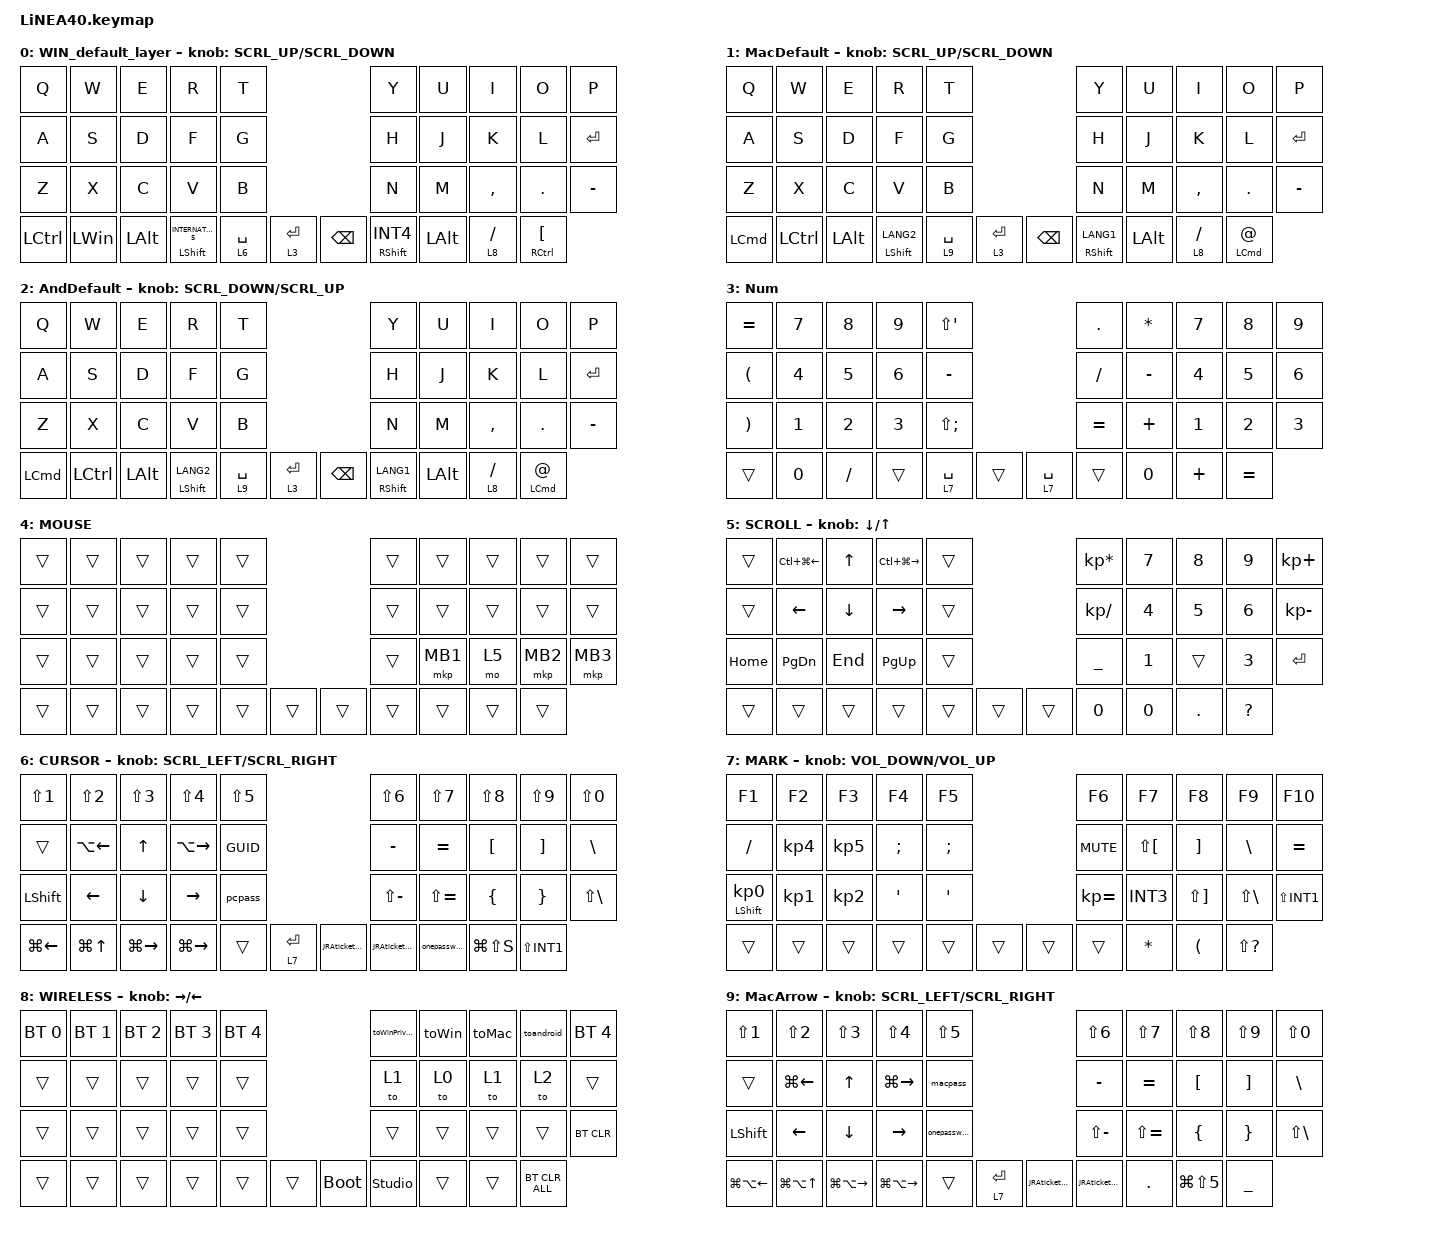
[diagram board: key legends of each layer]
#define ZMK_POINTING_DEFAULT_SCRL_VAL 150

#include <dt-bindings/zmk/input_transform.h>
#include <input/processors.dtsi>
#include <zephyr/dt-bindings/input/input-event-codes.h>
#include <behaviors.dtsi>
#include <dt-bindings/zmk/bt.h>
#include <dt-bindings/zmk/keys.h>
#include <dt-bindings/zmk/pointing.h>

#define MOUSE 4
#define MARK 7
#define CURSOR 6
#define FUNCTION 7
#define SCROLL 5
#define WIRELESS 8

//mouse cursol

&mmv {
    delay-ms = <20>;
    trigger-period-ms = <5>;
    time-to-max-speed-ms = <100>;
    acceleration-exponent = <2>;
};

//mouse scroll

&msc {
    delay-ms = <3>;
    trigger-period-ms = <3>;
    time-to-max-speed-ms = <100>;
    acceleration-exponent = <0>;
};

/ {
    input_processors {
        zip_wheel_scaler: zip_wheel_scaler {
            compatible = "zmk,input-processor-scaler";
            #input-processor-cells = <2>;
            type = <INPUT_EV_REL>;
            codes = <INPUT_REL_WHEEL>;
            track-remainders;
        };
    };
};

&mkp_input_listener { input-processors = <&zip_temp_layer 4 10000>; };

&msc_input_listener {
    speed_up {
        layers = <FUNCTION>;
        input-processors = <&zip_wheel_scaler 3 1>; //スクロールを3倍速にする
    };
};

&trackball_listener {
    scroller {
        layers = <SCROLL>;
        input-processors =
            <&zip_xy_transform INPUT_TRANSFORM_Y_INVERT>,
            //スクロール方向を逆転,,,,,,,,,,,,,
            <&zip_xy_to_scroll_mapper>;
    };
};

/ {
    combos {
        compatible = "zmk,combos";

        ZenkakuHankaku {
            bindings = <&kp BACKSPACE>;
            key-positions = <8 9>;
        };

        DeleteKey {
            bindings = <&kp DEL>;
            key-positions = <7 8 9>;
        };

        TABs {
            bindings = <&kp TAB>;
            key-positions = <0 1>;
        };

        shifttab {
            bindings = <&kp LS(TAB)>;
            key-positions = <0 1 2>;
        };

        esc {
            bindings = <&kp ESCAPE>;
            key-positions = <10 0>;
        };

        shift {
            bindings = <&kp LEFT_SHIFT>;
            key-positions = <21 20>;
        };

        doublquatation {
            bindings = <&kp SQT>;
            key-positions = <18 19>;
        };

        kakuninyou {
            bindings = <&none>;
            key-positions = <26 27 28 29 30>;
        };
    };

    macros {
        GUID: GUID {
            compatible = "zmk,behavior-macro";
            #binding-cells = <0>;
            bindings = <&kp S &kp H &kp U &kp N &kp DOT &kp S &kp DOT &kp O &kp K &kp U &kp N &kp O &kp LEFT_BRACKET &kp P &kp W &kp C &kp DOT &kp C &kp O &kp M>;
            label = "GUID";
        };

        pcpass: pwcpass {
            compatible = "zmk,behavior-macro";
            #binding-cells = <0>;
            bindings = <&kp LS(I) &kp L &kp I &kp V &kp E &kp I &kp N &kp LS(J) &kp U &kp N &kp E &kp N2 &kp N4 &kp N1 &kp N9 &kp N8 &kp N7 &kp EXCL>;
            label = "PWCPASS";
        };

        macpass: macpass {
            compatible = "zmk,behavior-macro";
            #binding-cells = <0>;
            bindings = <&kp A &kp L &kp T &kp E &kp R &kp N &kp A &kp T &kp I &kp V &kp E>;
            label = "MACPASS";
        };

        onepassword: onepassword {
            compatible = "zmk,behavior-macro";
            #binding-cells = <0>;
            bindings = <&kp LS(I) &kp L &kp I &kp V &kp E &kp I &kp N &kp LS(J) &kp A &kp P &kp A &kp N &kp N7 &kp EXCL>;
            label = "ONEPASSWORD";
        };

        toMac: toMacStudio {
            compatible = "zmk,behavior-macro";
            #binding-cells = <0>;
            bindings = <&bt BT_SEL 2>, <&macro_wait_time 200>, <&to 1>;

            label = "TOMACSTUDIO";
        };

        toWin: toiPad13 {
            compatible = "zmk,behavior-macro";
            #binding-cells = <0>;
            bindings = <&bt BT_SEL 1>, <&macro_wait_time 200>, <&to 0>;

            label = "TOIPAD13";
        };

        toiPad13: toiPad11 {
            compatible = "zmk,behavior-macro";
            #binding-cells = <0>;
            bindings = <&bt BT_SEL 2>, <&macro_wait_time 200>, <&to 1>;

            label = "TOIPAD11";
        };

        toiPadmini: toiPhone {
            compatible = "zmk,behavior-macro";
            #binding-cells = <0>;
            bindings = <&bt BT_SEL 3>, <&macro_wait_time 200>, <&to 1>;

            label = "TOIPHONE";
        };

        JRAticketSmartsheet2: JTAticketSmartsheet {
            compatible = "zmk,behavior-macro";
            #binding-cells = <0>;
            bindings = <&kp TAB &kp LEFT_SHIFT &kp ENTER &kp TAB &kp TAB &kp ENTER>;
            label = "JTATICKETSMARTSHEET";
        };

        JRAticketSmartsheet1: JRAticketSmartsheet1 {
            compatible = "zmk,behavior-macro";
            #binding-cells = <0>;
            bindings = <&kp TAB &kp LEFT_SHIFT &kp ENTER &kp TAB &kp ENTER>;
            label = "JRATICKETSMARTSHEET1";
        };

        toandroid: toandroid {
            compatible = "zmk,behavior-macro";
            #binding-cells = <0>;
            bindings = <&bt BT_SEL 3>, <&macro_wait_time 200>, <&to 2>;

            label = "TOANDROID";
        };

        toWinPrivate: toWinPrivate {
            compatible = "zmk,behavior-macro";
            #binding-cells = <0>;
            bindings = <&bt BT_SEL 0>, <&macro_wait_time 200>, <&to 0>;

            label = "TOWINPRIVATE";
        };
    };

    behaviors {
        re_kp: sensor_rotate_kp {
            compatible = "zmk,behavior-sensor-rotate-var";
            #sensor-binding-cells = <2>;
            bindings = <&kp>, <&kp>;
        };

        mouse_scrl: mouse_wheel_scrl {
            compatible = "zmk,behavior-sensor-rotate-var";
            #sensor-binding-cells = <2>;
            bindings = <&msc>, <&msc>;

            tap-ms = <20>;
        };
    };

    keymap {
        compatible = "zmk,keymap";

        WIN_default_layer {
            bindings = <
&kp Q             &kp W         &kp E         &kp R                           &kp T                                      &kp Y                 &kp U  &kp I         &kp O        &kp P
&kp A             &kp S         &kp D         &kp F                           &kp G                                      &kp H                 &kp J  &kp K         &kp L        &kp ENTER
&kp Z             &kp X         &kp C         &kp V                           &kp B                                      &kp N                 &kp M  &kp COMMA     &kp DOT      &kp MINUS
&kp LEFT_CONTROL  &kp LEFT_WIN  &kp LEFT_ALT  &mt LEFT_SHIFT INTERNATIONAL_5  &lt 6 SPACE  &lt 3 ENTER    &kp BACKSPACE  &mt RIGHT_SHIFT INT4         &kp LEFT_ALT  &lt 8 SLASH  &mt RIGHT_CONTROL LEFT_BRACKET
            >;

            sensor-bindings = <&mouse_scrl SCRL_UP SCRL_DOWN>;
        };

        MacDefault {
            bindings = <
&kp Q             &kp W             &kp E         &kp R                 &kp T                                      &kp Y                  &kp U  &kp I         &kp O        &kp P
&kp A             &kp S             &kp D         &kp F                 &kp G                                      &kp H                  &kp J  &kp K         &kp L        &kp ENTER
&kp Z             &kp X             &kp C         &kp V                 &kp B                                      &kp N                  &kp M  &kp COMMA     &kp DOT      &kp MINUS
&kp LEFT_COMMAND  &kp LEFT_CONTROL  &kp LEFT_ALT  &mt LEFT_SHIFT LANG2  &lt 9 SPACE  &lt 3 ENTER    &kp BACKSPACE  &mt RIGHT_SHIFT LANG1         &kp LEFT_ALT  &lt 8 SLASH  &mt LEFT_COMMAND AT_SIGN
            >;

            sensor-bindings = <&mouse_scrl SCRL_UP SCRL_DOWN>;
        };

        AndDefault {
            bindings = <
&kp Q             &kp W             &kp E         &kp R                 &kp T                                      &kp Y                  &kp U  &kp I         &kp O        &kp P
&kp A             &kp S             &kp D         &kp F                 &kp G                                      &kp H                  &kp J  &kp K         &kp L        &kp ENTER
&kp Z             &kp X             &kp C         &kp V                 &kp B                                      &kp N                  &kp M  &kp COMMA     &kp DOT      &kp MINUS
&kp LEFT_COMMAND  &kp LEFT_CONTROL  &kp LEFT_ALT  &mt LEFT_SHIFT LANG2  &lt 9 SPACE  &lt 3 ENTER    &kp BACKSPACE  &mt RIGHT_SHIFT LANG1         &kp LEFT_ALT  &lt 8 SLASH  &mt LEFT_COMMAND AT_SIGN
            >;

            sensor-bindings = <&mouse_scrl SCRL_DOWN SCRL_UP>;
        };

        Num {
            bindings = <
&kp EQUAL              &kp NUMBER_7  &kp NUMBER_8  &kp NUMBER_9  &kp LS(APOS)                         &kp DOT    &kp ASTRK  &kp N7  &kp N8    &kp N9
&kp LEFT_PARENTHESIS   &kp NUMBER_4  &kp NUMBER_5  &kp NUMBER_6  &kp MINUS                            &kp FSLH   &kp MINUS  &kp N4  &kp N5    &kp N6
&kp RIGHT_PARENTHESIS  &kp NUMBER_1  &kp NUMBER_2  &kp NUMBER_3  &kp LS(SEMI)                         &kp EQUAL  &kp PLUS   &kp N1  &kp N2    &kp N3
&trans                 &kp N0        &kp FSLH      &trans        &lt 7 SPACE   &trans    &lt 7 SPACE  &trans                &kp N0  &kp PLUS  &kp EQUAL
            >;
        };

        MOUSE {
            bindings = <
&trans  &trans  &trans  &trans  &trans                    &trans  &trans    &trans  &trans    &trans
&trans  &trans  &trans  &trans  &trans                    &trans  &trans    &trans  &trans    &trans
&trans  &trans  &trans  &trans  &trans                    &trans  &mkp MB1  &mo 5   &mkp MB2  &mkp MB3
&trans  &trans  &trans  &trans  &trans  &trans    &trans  &trans            &trans  &trans    &trans
            >;
        };

        SCROLL {
            bindings = <
&trans    &kp LC(LG(LEFT_ARROW))  &kp UP_ARROW  &kp LC(LG(RIGHT_ARROW))  &trans                    &kp KP_MULTIPLY  &kp NUMBER_7  &kp NUMBER_8  &kp NUMBER_9  &kp KP_PLUS
&trans    &kp LEFT_ARROW          &kp DOWN      &kp RIGHT_ARROW          &trans                    &kp KP_SLASH     &kp NUMBER_4  &kp NUMBER_5  &kp NUMBER_6  &kp KP_MINUS
&kp HOME  &kp PAGE_DOWN           &kp END       &kp PAGE_UP              &trans                    &kp UNDER        &kp NUMBER_1  &trans        &kp NUMBER_3  &kp ENTER
&trans    &trans                  &trans        &trans                   &trans  &trans    &trans  &kp NUMBER_0                   &kp NUMBER_0  &kp DOT       &kp QUESTION
            >;

            sensor-bindings = <&inc_dec_kp DOWN_ARROW UP_ARROW>;
        };

        CURSOR {
            bindings = <
&kp LS(N1)          &kp LS(N2)          &kp LS(N3)           &kp LS(N4)           &kp LS(N5)                                        &kp LS(N6)             &kp LS(N7)     &kp LS(N8)      &kp LS(N9)       &kp LS(N0)
&trans              &kp LA(LEFT_ARROW)  &kp UP_ARROW         &kp LA(RIGHT_ARROW)  &GUID                                             &kp MINUS              &kp EQUAL      &kp LBKT        &kp RBKT         &kp BSLH
&kp LSHFT           &kp LEFT_ARROW      &kp DOWN_ARROW       &kp RIGHT_ARROW      &pcpass                                           &kp LS(MINUS)          &kp LS(EQUAL)  &kp LEFT_BRACE  &kp RIGHT_BRACE  &kp LS(BSLH)
&kp LG(LEFT_ARROW)  &kp LG(UP_ARROW)    &kp LG(RIGHT_ARROW)  &kp LG(RIGHT_ARROW)  &trans      &lt 7 ENTER    &JRAticketSmartsheet1  &JRAticketSmartsheet2                 &onepassword    &kp LG(LS(S))    &kp LS(INT1)
            >;

            sensor-bindings = <&mouse_scrl SCRL_LEFT SCRL_RIGHT>;
        };

        MARK {
            bindings = <
&kp F1                      &kp F2           &kp F3           &kp F4         &kp F5                           &kp F6        &kp F7        &kp F8                 &kp F9                &kp F10
&kp SLASH                   &kp KP_NUMBER_4  &kp KP_NUMBER_5  &kp SEMICOLON  &kp SEMICOLON                    &kp C_MUTE    &kp LS(LBKT)  &kp RIGHT_BRACKET      &kp BACKSLASH         &kp EQUAL
&mt LEFT_SHIFT KP_NUMBER_0  &kp KP_NUMBER_1  &kp KP_NUMBER_2  &kp APOS       &kp SQT                          &kp KP_EQUAL  &kp INT3      &kp LS(RIGHT_BRACKET)  &kp LS(BACKSLASH)     &kp LS(INT1)
&trans                      &trans           &trans           &trans         &trans         &trans    &trans  &trans                      &kp ASTERISK           &kp LEFT_PARENTHESIS  &kp LS(QUESTION)
            >;

            sensor-bindings = <&re_kp C_VOLUME_DOWN C_VOLUME_UP>;
        };

        WIRELESS {
            bindings = <
&bt BT_SEL 0  &bt BT_SEL 1  &bt BT_SEL 2  &bt BT_SEL 3  &bt BT_SEL 4                         &toWinPrivate   &toWin  &toMac  &toandroid  &bt BT_SEL 4
&trans        &trans        &trans        &trans        &trans                               &to 1           &to 0   &to 1   &to 2       &trans
&trans        &trans        &trans        &trans        &trans                               &trans          &trans  &trans  &trans      &bt BT_CLR
&trans        &trans        &trans        &trans        &trans        &trans    &bootloader  &studio_unlock          &trans  &trans      &bt BT_CLR_ALL
            >;

            sensor-bindings = <&inc_dec_kp RIGHT_ARROW LEFT_ARROW>;
        };

        MacArrow {
            bindings = <
&kp LS(N1)              &kp LS(N2)            &kp LS(N3)               &kp LS(N4)               &kp LS(N5)                                          &kp LS(N6)             &kp LS(N7)     &kp LS(N8)      &kp LS(N9)       &kp LS(N0)
&trans                  &kp LG(LEFT_ARROW)    &kp UP_ARROW             &kp LG(RIGHT_ARROW)      &macpass                                            &kp MINUS              &kp EQUAL      &kp LBKT        &kp RBKT         &kp BSLH
&kp LSHFT               &kp LEFT_ARROW        &kp DOWN_ARROW           &kp RIGHT_ARROW          &onepassword                                        &kp LS(MINUS)          &kp LS(EQUAL)  &kp LEFT_BRACE  &kp RIGHT_BRACE  &kp LS(BSLH)
&kp LG(LA(LEFT_ARROW))  &kp LG(LA(UP_ARROW))  &kp LG(LA(RIGHT_ARROW))  &kp LG(LA(RIGHT_ARROW))  &trans        &lt 7 ENTER    &JRAticketSmartsheet1  &JRAticketSmartsheet2                 &kp DOT         &kp LG(LS(N5))   &kp UNDERSCORE
            >;

            sensor-bindings = <&mouse_scrl SCRL_LEFT SCRL_RIGHT>;
        };
    };
};
